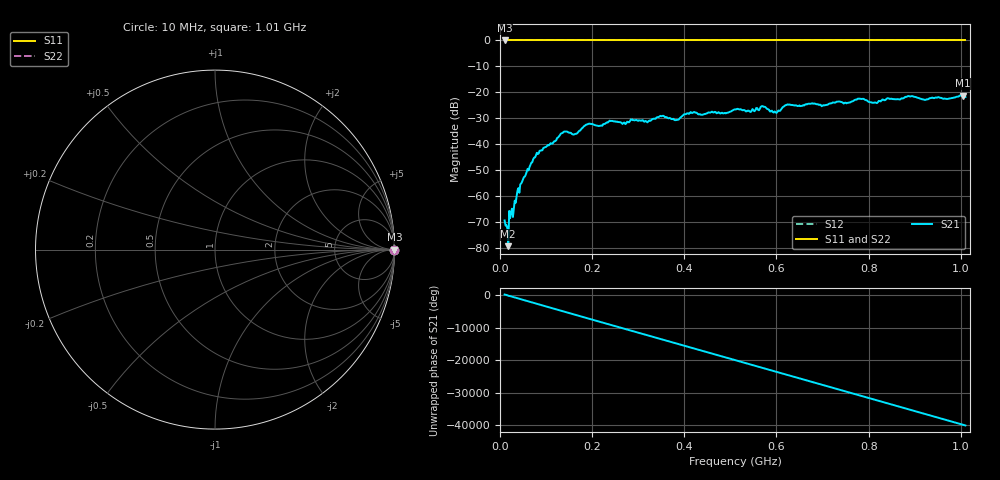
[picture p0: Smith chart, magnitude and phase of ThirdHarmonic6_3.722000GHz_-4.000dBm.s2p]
! 8/17/2025 12:41:51 PM
! C:\ANRITSUVNA\TEMP\TEMP.S2P
! CHANNEL.1
! TR.MEASUREMENT
! RAW.DATA
! RF.CORRECTION.OFF
! AVERAGING.OFF
! IF.BANDWIDTH: 5KHZ
! SWEEPTYPE:  FREQ.SWEEP(Linear)
! Reference Plane Port Info
! PORT:  PORT1  PORT2
! DISTANCE:  0  m  0  m
! TIME:  0  s  0  s
! PHASE.OFFSET:  0  deg.  0  deg.
! LOSS:  0  dB  0  dB
! REF.LOSS:  0  dB  0  dB
! REF.FREQ:  0  Hz  0  Hz
! Power Info
! POWER:  -20  dBm  -20  dBm
! EFF.POWER:  -20  dBm  -20  dBm
! SOURCE.ATTEN:  0  dB  0  dB
! TEST.ATTEN:  0  dB  0  dB
# GHZ S RI R 50.0
! FREQ.GHZ  S11RE  S11IM  S21RE  S21IM  S12RE  S12IM  S22RE  S22IM
!; PortSelection: Port_12
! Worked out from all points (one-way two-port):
!   501 points, 10 MHz to 1.01 GHz, reference 50 ohm
!   highest |S21| = -21.23 dB at 1.004 GHz (marker M1); lowest = -79.3 dB at 18 MHz (marker M2)
!   lowest |S11| = 0.0 dB at 10 MHz (marker M3)
!   |S11| at or under -10 dB: nowhere
!   |S22| runs from 0.0 to 0.0 dB; largest |S21 - S12| = 1.1
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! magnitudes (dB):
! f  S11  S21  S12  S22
! 10 MHz  0.0  -69.4  0.0  0.0
! 14 MHz  0.0  -71.3  0.0  0.0
! 18 MHz  0.0  -79.3  0.0  0.0
! 42 MHz  0.0  -58.7  0.0  0.0
! 76 MHz  0.0  -45.1  0.0  0.0
! 136 MHz  0.0  -35.6  0.0  0.0
! 162 MHz  0.0  -36.1  0.0  0.0
! 178 MHz  0.0  -33.9  0.0  0.0
! 192 MHz  0.0  -32.1  0.0  0.0
! 318 MHz  0.0  -31.3  0.0  0.0
! 344 MHz  0.0  -29.5  0.0  0.0
! 384 MHz  0.0  -30.7  0.0  0.0
! 418 MHz  0.0  -28.0  0.0  0.0
! 510 MHz  0.0  -26.6  0.0  0.0
! 572 MHz  0.0  -25.6  0.0  0.0
! 598 MHz  0.0  -27.7  0.0  0.0
! 624 MHz  0.0  -24.7  0.0  0.0
! 678 MHz  0.0  -24.2  0.0  0.0
! 814 MHz  0.0  -23.9  0.0  0.0
! 844 MHz  0.0  -22.4  0.0  0.0
! 1.004 GHz  0.0  -21.2  0.0  0.0
! 1.01 GHz  0.0  -21.8  0.0  0.0
